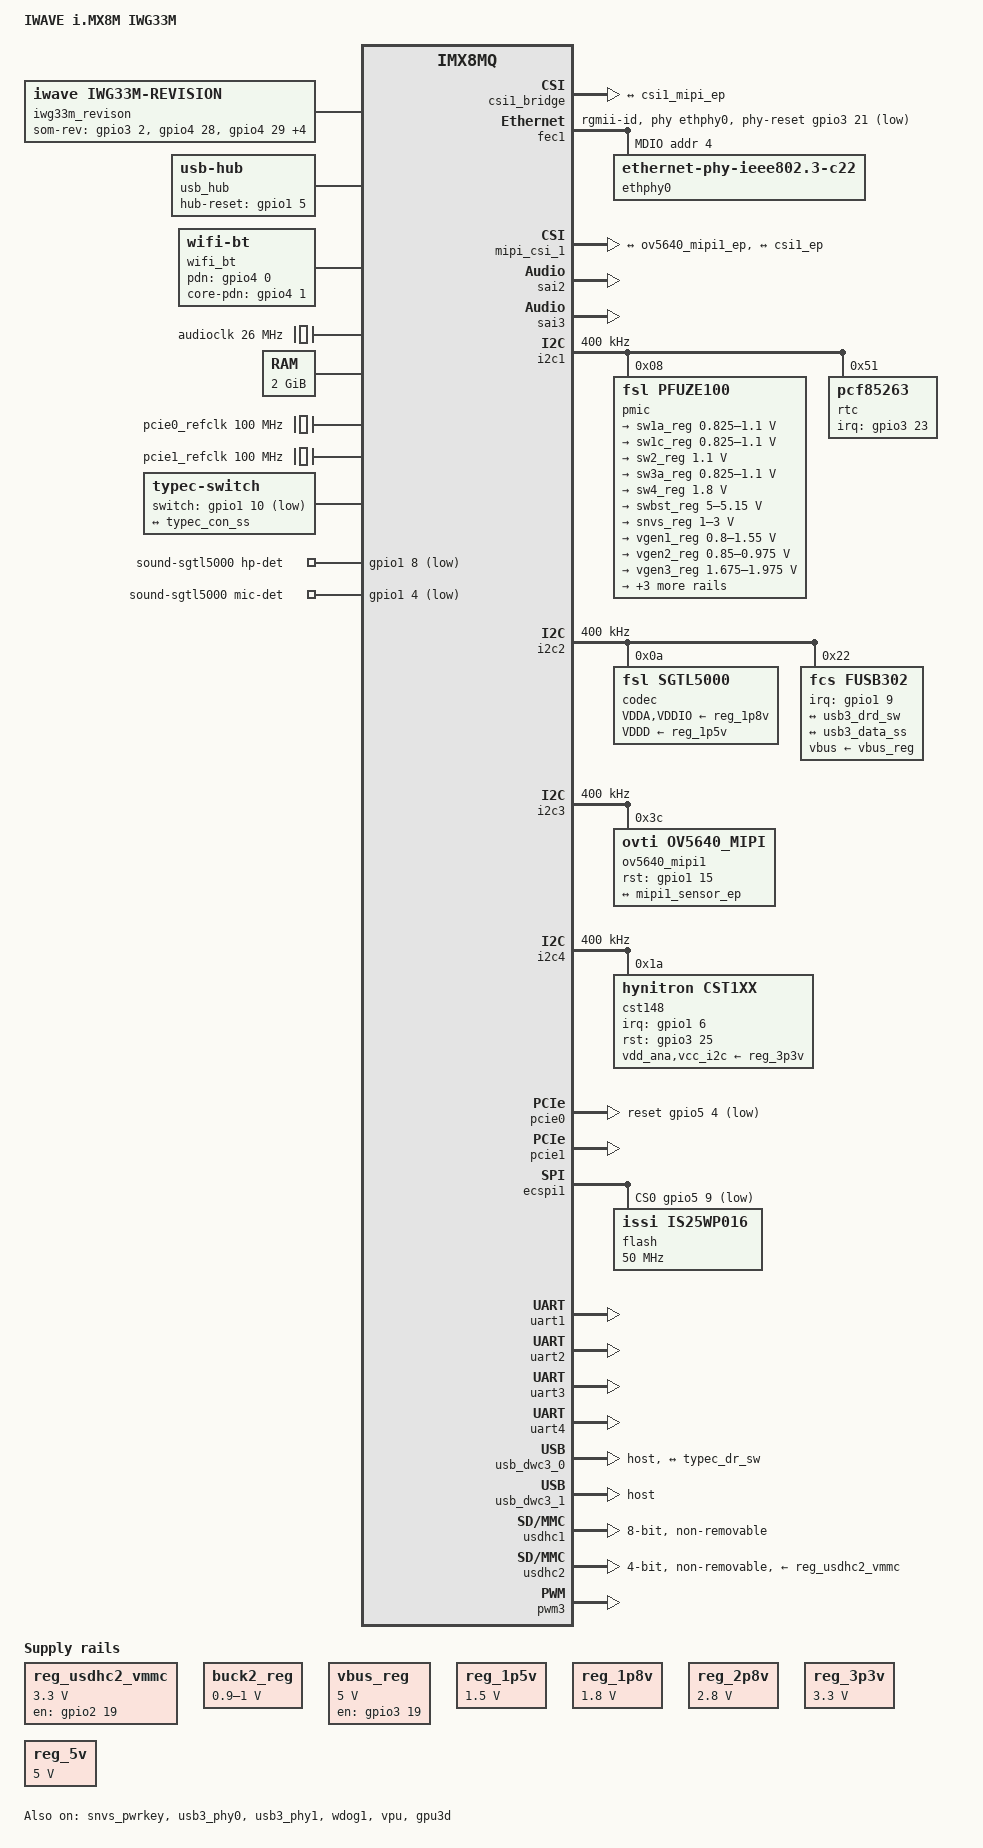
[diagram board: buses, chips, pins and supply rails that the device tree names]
// SPDX-License-Identifier: (GPL-2.0 OR MIT)
/*
 * Copyright 2020 iWave Systems Technologies
 */

/dts-v1/;

#include <dt-bindings/usb/pd.h>
#include "imx8mq.dtsi"

/ {
	model = "IWAVE i.MX8M IWG33M";
	compatible = "fsl,imx8mq-iwg33m", "fsl,imx8mq";
	
	aliases {
		ethernet1 = &pcie1;
	};

	chosen {
		stdout-path = &uart1;
	};

	/* IWG33M: DT node for SOM Revision */
	iwg33m_revison {
		compatible = "iwave,iwg33m-revision";
		pinctrl-names = "default";
		pinctrl-0 = <&pinctrl_board_cfg>;
		som-rev-gpios = <&gpio3 2 0  &gpio4 28 0  &gpio4 29 0  &gpio5 2 0
				&gpio4 22 0 &gpio4 21 0 &gpio3 14 0>;
		status = "okay";
	};

	usb_hub {
		compatible = "usb-hub";
		pinctrl-0 = <&pinctrl_usb_hub>;
		hub-reset-gpio = <&gpio1 5 GPIO_ACTIVE_HIGH>;
		status = "okay";
	};

	wifi_bt {
		compatible = "wifi-bt";
		pinctrl-0 = <&pinctrl_wifi_bt>;
		pdn-gpio = <&gpio4 0 GPIO_ACTIVE_HIGH>;
		core-pdn-gpio = <&gpio4 1 GPIO_ACTIVE_HIGH>;
		status = "okay";
	};

	audioclk: ext26MHz {
		compatible = "fixed-clock";
		#clock-cells = <0>;
		clock-frequency = <26000000>;
		clock-output-names = "ext26MHz";
	};

	memory@40000000 {
		device_type = "memory";
		reg = <0x00000000 0x40000000 0 0x80000000>;
	};

	reserved-memory {
		#address-cells = <2>;
		#size-cells = <2>;
		ranges;

		rpmsg_reserved: rpmsg@0xb8000000 {
			no-map;
			reg = <0 0xb8000000 0 0x400000>;
		};
	};

	resmem: reserved-memory {
		#address-cells = <2>;
		#size-cells = <2>;
		ranges;

		/* global autoconfigured region for contiguous allocations */
		linux,cma {
			compatible = "shared-dma-pool";
			reusable;
			size = <0 0x3c000000>;
			alloc-ranges = <0 0x40000000 0 0x40000000>;
			linux,cma-default;
		};
	};

	pcie0_refclk: pcie0-refclk {
		compatible = "fixed-clock";
		#clock-cells = <0>;
		clock-frequency = <100000000>;
	};

	pcie1_refclk: pcie0-refclk {
		compatible = "fixed-clock";
		#clock-cells = <0>;
		clock-frequency = <100000000>;
	};

	typec-switch {
		compatible = "typec-switch";
		pinctrl-names = "default";
		pinctrl-0 = <&pinctrl_ss_sel>;
		switch-gpios = <&gpio1 10 GPIO_ACTIVE_LOW>;
		orientation-switch;

		port {
			usb3_data_ss: endpoint {
				remote-endpoint = <&typec_con_ss>;
			};
		};
	};

	reg_usdhc2_vmmc: regulator-vsd-3v3 {
		pinctrl-names = "default";
		pinctrl-0 = <&pinctrl_reg_usdhc2>;
		compatible = "regulator-fixed";
		regulator-name = "VSD_3V3";
		regulator-min-microvolt = <3300000>;
		regulator-max-microvolt = <3300000>;
		gpio = <&gpio2 19 GPIO_ACTIVE_HIGH>;
		off-on-delay-us = <20000>;
		enable-active-high;
	};

	buck2_reg: regulator-buck2 {
		pinctrl-names = "default";
		pinctrl-0 = <&pinctrl_buck2>;
		compatible = "regulator-gpio";
		regulator-name = "vdd_arm";
		regulator-min-microvolt = <900000>;
		regulator-max-microvolt = <1000000>;
		gpios = <&gpio1 13 GPIO_ACTIVE_HIGH>;
		states = <1000000 0x0
			  900000 0x1>;
	};

	vbus_reg: regulator-vbus {
		pinctrl-names = "default";
		pinctrl-0 = <&pinctrl_vbus>;
		compatible = "regulator-fixed";
		regulator-name = "vbus_5V";
		regulator-min-microvolt = <5000000>;
		regulator-max-microvolt = <5000000>;
		gpio = <&gpio3 19 GPIO_ACTIVE_HIGH>;
		off-on-delay-us = <20000>;
		enable-active-high;
	};

	reg_1p5v: 1p5v {
		compatible = "regulator-fixed";
		regulator-name = "1P5V";
		regulator-min-microvolt = <1500000>;
		regulator-max-microvolt = <1500000>;
		regulator-always-on;
	};

	reg_1p8v: 1p8v {
		compatible = "regulator-fixed";
		regulator-name = "1P8V";
		regulator-min-microvolt = <1800000>;
		regulator-max-microvolt = <1800000>;
		regulator-always-on;
	};

	reg_2p8v: 2p8v {
		compatible = "regulator-fixed";
		regulator-name = "2P8V";
		regulator-min-microvolt = <2800000>;
		regulator-max-microvolt = <2800000>;
		regulator-always-on;
	};

	reg_3p3v: 3p3v {
		compatible = "regulator-fixed";
		regulator-name = "3P3V";
		regulator-min-microvolt = <3300000>;
		regulator-max-microvolt = <3300000>;
		regulator-always-on;
	};

	reg_5v: 5v {
		compatible = "regulator-fixed";
		regulator-name = "5V";
		regulator-min-microvolt = <5000000>;
		regulator-max-microvolt = <5000000>;
		regulator-always-on;
	};
	
	sound-sgtl5000 {
		compatible = "simple-audio-card";
		pinctrl-names = "default";
		pinctrl-0 = <&pinctrl_hp_mic_detect>;
		simple-audio-card,name = "sgtl5000-audio";
		simple-audio-card,format = "i2s";
		simple-audio-card,hp-det-gpio = <&gpio1 8 GPIO_ACTIVE_LOW>;
		simple-audio-card,mic-det-gpio = <&gpio1 4 GPIO_ACTIVE_LOW>;
		simple-audio-card,widgets =
			"Microphone", "Mic Jack",
			"Headphone", "Headphones",
			"Speaker", "Speaker Ext",
			"Line", "Line In Jack";
		simple-audio-card,routing =
			"MIC_IN", "Mic Jack",
			"Mic Jack", "Mic Bias",
			"LINE_IN", "Line In Jack",
			"Headphones", "HP_OUT",
			"Speaker Ext", "LINE_OUT";	

		simple-audio-card,cpu {
			sound-dai = <&sai2>;
			frame-master;
			bitclock-master;
		};

		simple-audio-card,codec {
			sound-dai = <&codec>;
			frame-master;
			bitclock-master;
			system-clock-frequency = <26000000>;
		};
	};

	sound-hdmi {
		compatible = "fsl,imx8mq-evk-cdnhdmi",
				"fsl,imx-audio-cdnhdmi";
		model = "imx-audio-hdmi";
		audio-cpu = <&sai4>;
		protocol = <1>;
		hdmi-out;
		constraint-rate = <44100>,
				<88200>,
				<176400>,
				<32000>,
				<48000>,
				<96000>,
				<192000>;
		status = "disabled";
	};

};

&iomuxc {
	pinctrl-names = "default";
	pinctrl-0 = <&pinctrl_hog>;

	pinctrl_hog: hoggrp {
		fsl,pins = <
			MX8MQ_IOMUXC_SD2_WP_GPIO2_IO20			0x19
			MX8MQ_IOMUXC_NAND_ALE_GPIO3_IO0			0x19
			MX8MQ_IOMUXC_NAND_CE0_B_GPIO3_IO1		0x19
			MX8MQ_IOMUXC_NAND_DATA00_GPIO3_IO6		0x19
			MX8MQ_IOMUXC_NAND_DATA01_GPIO3_IO7		0x19
			MX8MQ_IOMUXC_NAND_DATA02_GPIO3_IO8		0x41
			MX8MQ_IOMUXC_NAND_DATA03_GPIO3_IO9		0x19            
			MX8MQ_IOMUXC_NAND_READY_B_GPIO3_IO16		0x19
			MX8MQ_IOMUXC_NAND_WE_B_GPIO3_IO17		0x19
			MX8MQ_IOMUXC_NAND_WP_B_GPIO3_IO18		0x19
			MX8MQ_IOMUXC_GPIO1_IO00_GPIO1_IO0		0x19
			MX8MQ_IOMUXC_GPIO1_IO01_GPIO1_IO1		0x19
			MX8MQ_IOMUXC_GPIO1_IO11_GPIO1_IO11		0x19
			MX8MQ_IOMUXC_GPIO1_IO12_GPIO1_IO12		0x19
			MX8MQ_IOMUXC_SAI5_RXD3_GPIO3_IO24		0x19
			MX8MQ_IOMUXC_SAI1_TXFS_GPIO4_IO10		0x19
			MX8MQ_IOMUXC_SAI1_TXC_GPIO4_IO11		0x19
		>;
	};

	pinctrl_buck2: vddarmgrp {
		fsl,pins = <
			MX8MQ_IOMUXC_GPIO1_IO13_GPIO1_IO13		0x19
		>;

	};

	pinctrl_board_cfg: brd_cfg {
		fsl,pins = <
			MX8MQ_IOMUXC_NAND_CE1_B_GPIO3_IO2		0xc1
			MX8MQ_IOMUXC_SAI3_RXFS_GPIO4_IO28		0xc1
			MX8MQ_IOMUXC_SAI3_RXC_GPIO4_IO29		0xc1
			MX8MQ_IOMUXC_SAI3_MCLK_GPIO5_IO2		0xc1
			MX8MQ_IOMUXC_SAI2_RXC_GPIO4_IO22		0xc1
			MX8MQ_IOMUXC_SAI2_RXFS_GPIO4_IO21		0xc1
			MX8MQ_IOMUXC_NAND_DQS_GPIO3_IO14		0xc1
		>;
	};

	pinctrl_mipi_dsi_en: mipi_dsi_en {
		fsl,pins = <
			MX8MQ_IOMUXC_GPIO1_IO03_GPIO1_IO3		0x16
		>;
	};

	pinctrl_csi1_pwn: csi1_pwn_grp {
		fsl,pins = <
			MX8MQ_IOMUXC_GPIO1_IO15_GPIO1_IO15		0x19
			MX8MQ_IOMUXC_SAI1_MCLK_SAI1_MCLK		0x59
		>;
	};
	
	pinctrl_pcf85263: pcf85263_grp {
		fsl,pins = <
			MX8MQ_IOMUXC_SAI5_RXD2_GPIO3_IO23		0x19
		>;
	};

	pinctrl_fec1: fec1grp {
		fsl,pins = <
			MX8MQ_IOMUXC_ENET_MDC_ENET1_MDC			0x3
			MX8MQ_IOMUXC_ENET_MDIO_ENET1_MDIO		0x23
			MX8MQ_IOMUXC_ENET_TD3_ENET1_RGMII_TD3		0x1f
			MX8MQ_IOMUXC_ENET_TD2_ENET1_RGMII_TD2		0x1f
			MX8MQ_IOMUXC_ENET_TD1_ENET1_RGMII_TD1		0x1f
			MX8MQ_IOMUXC_ENET_TD0_ENET1_RGMII_TD0		0x1f
			MX8MQ_IOMUXC_ENET_RD3_ENET1_RGMII_RD3		0x91
			MX8MQ_IOMUXC_ENET_RD2_ENET1_RGMII_RD2		0x91
			MX8MQ_IOMUXC_ENET_RD1_ENET1_RGMII_RD1		0x91
			MX8MQ_IOMUXC_ENET_RD0_ENET1_RGMII_RD0		0x91
			MX8MQ_IOMUXC_ENET_TXC_ENET1_RGMII_TXC		0x1f
			MX8MQ_IOMUXC_ENET_RXC_ENET1_RGMII_RXC		0x91
			MX8MQ_IOMUXC_ENET_RX_CTL_ENET1_RGMII_RX_CTL	0x91
			MX8MQ_IOMUXC_ENET_TX_CTL_ENET1_RGMII_TX_CTL	0x1f
			MX8MQ_IOMUXC_SAI5_RXD0_GPIO3_IO21		0x19
			MX8MQ_IOMUXC_SAI5_RXD1_GPIO3_IO22		0x19
			MX8MQ_IOMUXC_SAI5_RXC_GPIO3_IO20		0x19
		>;
	};

	pinctrl_i2c1: i2c1grp {
		fsl,pins = <
			MX8MQ_IOMUXC_I2C1_SCL_I2C1_SCL			0x4000007f
			MX8MQ_IOMUXC_I2C1_SDA_I2C1_SDA			0x4000007f
		>;
	};

	pinctrl_i2c3: i2c3grp {
		fsl,pins = <
			MX8MQ_IOMUXC_I2C3_SCL_I2C3_SCL			0x4000007f
			MX8MQ_IOMUXC_I2C3_SDA_I2C3_SDA			0x4000007f
		>;
	};

	pinctrl_i2c2: i2c2grp {
		fsl,pins = <
			MX8MQ_IOMUXC_I2C2_SCL_I2C2_SCL			0x40000067
			MX8MQ_IOMUXC_I2C2_SDA_I2C2_SDA			0x40000067
		>;
	};

	pinctrl_i2c4: i2c4grp {
		fsl,pins = <
			MX8MQ_IOMUXC_I2C4_SCL_I2C4_SCL			0x4000007f
			MX8MQ_IOMUXC_I2C4_SDA_I2C4_SDA			0x4000007f
		>;
	};

	pinctrl_pcie0: pcie0grp {
		fsl,pins = <
			MX8MQ_IOMUXC_SPDIF_RX_GPIO5_IO4			0x16
			MX8MQ_IOMUXC_SPDIF_EXT_CLK_GPIO5_IO5		0x16
			MX8MQ_IOMUXC_GPIO1_IO07_GPIO1_IO7		0x16
		>;
	};

	pinctrl_qspi: qspigrp {
		fsl,pins = <
			MX8MQ_IOMUXC_NAND_ALE_QSPI_A_SCLK	0x82
			MX8MQ_IOMUXC_NAND_CE0_B_QSPI_A_SS0_B	0x82
			MX8MQ_IOMUXC_NAND_DATA00_QSPI_A_DATA0	0x82
			MX8MQ_IOMUXC_NAND_DATA01_QSPI_A_DATA1	0x82
			MX8MQ_IOMUXC_NAND_DATA02_QSPI_A_DATA2	0x82
			MX8MQ_IOMUXC_NAND_DATA03_QSPI_A_DATA3	0x82

		>;
	};

	pinctrl_ecspi1: ecspi1grp {
		fsl,pins = <
			MX8MQ_IOMUXC_ECSPI1_SCLK_ECSPI1_SCLK		0x82
			MX8MQ_IOMUXC_ECSPI1_MOSI_ECSPI1_MOSI		0x82
			MX8MQ_IOMUXC_ECSPI1_MISO_ECSPI1_MISO		0x82
			MX8MQ_IOMUXC_ECSPI1_SS0_GPIO5_IO9		0x82
		>;
	};

	pinctrl_reg_usdhc2: regusdhc2grpgpio {
		fsl,pins = <
			MX8MQ_IOMUXC_SD2_RESET_B_GPIO2_IO19		0x41
		>;
	};

	pinctrl_sai2: sai2grp {
		fsl,pins = <
			MX8MQ_IOMUXC_SAI2_TXFS_SAI2_TX_SYNC		0xd6
			MX8MQ_IOMUXC_SAI2_TXC_SAI2_TX_BCLK		0xd6
			MX8MQ_IOMUXC_SAI2_MCLK_SAI2_MCLK		0xd6
			MX8MQ_IOMUXC_SAI2_TXD0_SAI2_TX_DATA0		0xd6
			MX8MQ_IOMUXC_SAI2_RXD0_SAI2_RX_DATA0		0xd6
		>;
	};

	pinctrl_sai3: sai3grp {
		fsl,pins = <
			MX8MQ_IOMUXC_SAI3_TXD_SAI3_TX_DATA0		0xd6
			MX8MQ_IOMUXC_SAI3_RXD_SAI3_RX_DATA0		0xd6
			MX8MQ_IOMUXC_SAI3_TXC_SAI3_TX_BCLK		0xd6
			MX8MQ_IOMUXC_SAI3_TXFS_SAI3_TX_SYNC		0xd6
		>;
	};

	pinctrl_hp_mic_detect: hp_mic_detect {
		fsl,pins = <
			MX8MQ_IOMUXC_GPIO1_IO04_GPIO1_IO4		0x19
			MX8MQ_IOMUXC_GPIO1_IO08_GPIO1_IO8		0x19
		>;
	};

	pinctrl_ts_active_iwg33m: touch {
		fsl,pins = <
			MX8MQ_IOMUXC_GPIO1_IO06_GPIO1_IO6		0x19
			MX8MQ_IOMUXC_SAI5_MCLK_GPIO3_IO25		0x19
		>;
	};

	pinctrl_ss_sel: usb3ssgrp{
		fsl,pins = <
			MX8MQ_IOMUXC_GPIO1_IO10_GPIO1_IO10 		0x19
		>;
	};
	
	pinctrl_vbus: usb_vbus {
		fsl,pins = <
			MX8MQ_IOMUXC_SAI5_RXFS_GPIO3_IO19		0x19
		>;
	};

	pinctrl_typec: typecgrp {
		fsl,pins = <
			MX8MQ_IOMUXC_GPIO1_IO09_GPIO1_IO9		0x19
		>;
	
	};

	pinctrl_usb_hub: usb_hub {
		fsl,pins = <
			MX8MQ_IOMUXC_GPIO1_IO05_GPIO1_IO5		0x19
		>;
	};

	pinctrl_wifi_bt: wifi_bt {
		fsl,pins = <
			MX8MQ_IOMUXC_SAI1_RXFS_GPIO4_IO0		0x19
			MX8MQ_IOMUXC_SAI1_RXC_GPIO4_IO1			0x19
		>;
	};

	pinctrl_uart1: uart1grp {
		fsl,pins = <
			MX8MQ_IOMUXC_UART1_RXD_UART1_DCE_RX		0x49
			MX8MQ_IOMUXC_UART1_TXD_UART1_DCE_TX		0x49
		>;
	};

	pinctrl_uart2: uart2grp {
		fsl,pins = <
			MX8MQ_IOMUXC_UART2_RXD_UART2_DCE_RX		0x49
			MX8MQ_IOMUXC_UART2_TXD_UART2_DCE_TX		0x49
			MX8MQ_IOMUXC_UART4_RXD_UART2_DCE_CTS_B		0x49
			MX8MQ_IOMUXC_UART4_TXD_UART2_DCE_RTS_B		0x49
		>;
	};

	pinctrl_uart3: uart3grp {
		fsl,pins = <
			MX8MQ_IOMUXC_UART3_TXD_UART3_DCE_TX		0x49
			MX8MQ_IOMUXC_UART3_RXD_UART3_DCE_RX		0x49
		>;
	};

	pinctrl_bt_uart4: bt_uart4grp {
		fsl,pins = <
			MX8MQ_IOMUXC_ECSPI2_MOSI_UART4_DCE_TX		0x49
			MX8MQ_IOMUXC_ECSPI2_SCLK_UART4_DCE_RX		0x49
			MX8MQ_IOMUXC_ECSPI2_MISO_UART4_DCE_CTS_B	0x49
			MX8MQ_IOMUXC_ECSPI2_SS0_UART4_DCE_RTS_B		0x49
			
		>;
	};

	pinctrl_usdhc1: usdhc1grp {
		fsl,pins = <
			MX8MQ_IOMUXC_SD1_CLK_USDHC1_CLK			0x83
			MX8MQ_IOMUXC_SD1_CMD_USDHC1_CMD			0xc3
			MX8MQ_IOMUXC_SD1_DATA0_USDHC1_DATA0		0xc3
			MX8MQ_IOMUXC_SD1_DATA1_USDHC1_DATA1		0xc3
			MX8MQ_IOMUXC_SD1_DATA2_USDHC1_DATA2		0xc3
			MX8MQ_IOMUXC_SD1_DATA3_USDHC1_DATA3		0xc3
			MX8MQ_IOMUXC_SD1_DATA4_USDHC1_DATA4		0xc3
			MX8MQ_IOMUXC_SD1_DATA5_USDHC1_DATA5		0xc3
			MX8MQ_IOMUXC_SD1_DATA6_USDHC1_DATA6		0xc3
			MX8MQ_IOMUXC_SD1_DATA7_USDHC1_DATA7		0xc3
			MX8MQ_IOMUXC_SD1_STROBE_USDHC1_STROBE		0x83
			MX8MQ_IOMUXC_SD1_RESET_B_USDHC1_RESET_B		0xc1
		>;
	};

	pinctrl_usdhc1_100mhz: usdhc1-100grp {
		fsl,pins = <
			MX8MQ_IOMUXC_SD1_CLK_USDHC1_CLK			0x8d
			MX8MQ_IOMUXC_SD1_CMD_USDHC1_CMD			0xcd
			MX8MQ_IOMUXC_SD1_DATA0_USDHC1_DATA0		0xcd
			MX8MQ_IOMUXC_SD1_DATA1_USDHC1_DATA1		0xcd
			MX8MQ_IOMUXC_SD1_DATA2_USDHC1_DATA2		0xcd
			MX8MQ_IOMUXC_SD1_DATA3_USDHC1_DATA3		0xcd
			MX8MQ_IOMUXC_SD1_DATA4_USDHC1_DATA4		0xcd
			MX8MQ_IOMUXC_SD1_DATA5_USDHC1_DATA5		0xcd
			MX8MQ_IOMUXC_SD1_DATA6_USDHC1_DATA6		0xcd
			MX8MQ_IOMUXC_SD1_DATA7_USDHC1_DATA7		0xcd
			MX8MQ_IOMUXC_SD1_STROBE_USDHC1_STROBE		0x8d
			MX8MQ_IOMUXC_SD1_RESET_B_USDHC1_RESET_B		0xc1
		>;
	};

	pinctrl_usdhc1_200mhz: usdhc1-200grp {
		fsl,pins = <
			MX8MQ_IOMUXC_SD1_CLK_USDHC1_CLK			0x9f
			MX8MQ_IOMUXC_SD1_CMD_USDHC1_CMD			0xdf
			MX8MQ_IOMUXC_SD1_DATA0_USDHC1_DATA0		0xdf
			MX8MQ_IOMUXC_SD1_DATA1_USDHC1_DATA1		0xdf
			MX8MQ_IOMUXC_SD1_DATA2_USDHC1_DATA2		0xdf
			MX8MQ_IOMUXC_SD1_DATA3_USDHC1_DATA3		0xdf
			MX8MQ_IOMUXC_SD1_DATA4_USDHC1_DATA4		0xdf
			MX8MQ_IOMUXC_SD1_DATA5_USDHC1_DATA5		0xdf
			MX8MQ_IOMUXC_SD1_DATA6_USDHC1_DATA6		0xdf
			MX8MQ_IOMUXC_SD1_DATA7_USDHC1_DATA7		0xdf
			MX8MQ_IOMUXC_SD1_STROBE_USDHC1_STROBE		0x9f
			MX8MQ_IOMUXC_SD1_RESET_B_USDHC1_RESET_B		0xc1
		>;
	};

	pinctrl_usdhc2: usdhc2grp {
		fsl,pins = <
			MX8MQ_IOMUXC_SD2_CLK_USDHC2_CLK			0x83
			MX8MQ_IOMUXC_SD2_CMD_USDHC2_CMD			0xc3
			MX8MQ_IOMUXC_SD2_DATA0_USDHC2_DATA0		0xc3
			MX8MQ_IOMUXC_SD2_DATA1_USDHC2_DATA1		0xc3
			MX8MQ_IOMUXC_SD2_DATA2_USDHC2_DATA2		0xc3
			MX8MQ_IOMUXC_SD2_DATA3_USDHC2_DATA3		0xc3
			MX8MQ_IOMUXC_SD2_CD_B_GPIO2_IO12		0x41
			MX8MQ_IOMUXC_SAI1_RXD0_GPIO4_IO2		0xc1
		>;
	};

	pinctrl_usdhc2_100mhz: usdhc2-100grp {
		fsl,pins = <
			MX8MQ_IOMUXC_SD2_CLK_USDHC2_CLK			0x85
			MX8MQ_IOMUXC_SD2_CMD_USDHC2_CMD			0xc5
			MX8MQ_IOMUXC_SD2_DATA0_USDHC2_DATA0		0xc5
			MX8MQ_IOMUXC_SD2_DATA1_USDHC2_DATA1		0xc5
			MX8MQ_IOMUXC_SD2_DATA2_USDHC2_DATA2		0xc5
			MX8MQ_IOMUXC_SD2_DATA3_USDHC2_DATA3		0xc5
			MX8MQ_IOMUXC_SD2_CD_B_GPIO2_IO12		0x41
			MX8MQ_IOMUXC_SAI1_RXD0_GPIO4_IO2		0xc1
		>;
	};

	pinctrl_usdhc2_200mhz: usdhc2-200grp {
		fsl,pins = <
			MX8MQ_IOMUXC_SD2_CLK_USDHC2_CLK			0x87
			MX8MQ_IOMUXC_SD2_CMD_USDHC2_CMD			0xc7
			MX8MQ_IOMUXC_SD2_DATA0_USDHC2_DATA0		0xc7
			MX8MQ_IOMUXC_SD2_DATA1_USDHC2_DATA1		0xc7
			MX8MQ_IOMUXC_SD2_DATA2_USDHC2_DATA2		0xc7
			MX8MQ_IOMUXC_SD2_DATA3_USDHC2_DATA3		0xc7
			MX8MQ_IOMUXC_SD2_CD_B_GPIO2_IO12		0x41
			MX8MQ_IOMUXC_SAI1_RXD0_GPIO4_IO2		0xc1
		>;
	};

	pinctrl_wdog: wdog1grp {
		fsl,pins = <
			MX8MQ_IOMUXC_GPIO1_IO02_WDOG1_WDOG_B		0xc6
		>;
	};

	pinctrl_pwm3: pwm3grp {
		fsl,pins = <
			MX8MQ_IOMUXC_GPIO1_IO14_PWM3_OUT		0x6	
		>;
	};
};



&A53_0 {
	cpu-supply = <&buck2_reg>;
};

&A53_1 {
	cpu-supply = <&buck2_reg>;
};

&A53_2 {
	cpu-supply = <&buck2_reg>;
};

&A53_3 {
	cpu-supply = <&buck2_reg>;
};

&csi1_bridge {
	fsl,mipi-mode;
	fsl,two-8bit-sensor-mode;
	status = "okay";

	port {
		csi1_ep: endpoint {
			remote-endpoint = <&csi1_mipi_ep>;
		};
	};
};

&fec1 {
	pinctrl-names = "default";
	pinctrl-0 = <&pinctrl_fec1>;
	phy-mode = "rgmii-id";
	phy-handle = <&ethphy0>;
	phy-reset-gpios = <&gpio3 21 GPIO_ACTIVE_LOW>;
	fsl,magic-packet;
	fsl,rgmii_txc_dly;
	fsl,rgmii_rxc_dly;
	fsl,ar8031-phy-fixup;
	status = "okay";

	mdio {
		#address-cells = <1>;
		#size-cells = <0>;

		ethphy0: ethernet-phy@4 {
			compatible = "ethernet-phy-ieee802.3-c22";
			reg = <4>;
			at803x,eee-disabled;
			at803x,vddio-1p8v;
		};
	};
};

&mipi_csi_1 {
	#address-cells = <1>;
	#size-cells = <0>;
	status = "okay";
	port {
		mipi1_sensor_ep: endpoint@0 {
			remote-endpoint = <&ov5640_mipi1_ep>;
			data-lanes = <1 2>;
			bus-type = <4>;
		};

		csi1_mipi_ep: endpoint@1 {
			remote-endpoint = <&csi1_ep>;
		};
	};
};

&sai2 {
	pinctrl-names = "default";
	pinctrl-0 = <&pinctrl_sai2>;
	assigned-clocks = <&clk IMX8MQ_CLK_SAI2>;
	assigned-clock-parents = <&clk IMX8MQ_AUDIO_PLL1_OUT>;
	assigned-clock-rates = <24576000>;
	status = "okay";
};

&sai3 {
	pinctrl-names = "default";
	pinctrl-0 = <&pinctrl_sai3>;
	assigned-clocks = <&clk IMX8MQ_CLK_SAI3>;
	assigned-clock-parents = <&clk IMX8MQ_AUDIO_PLL1_OUT>;
	assigned-clock-rates = <24576000>;
	status = "okay";
};

&i2c1 {
	clock-frequency = <400000>;
	pinctrl-names = "default";
	pinctrl-0 = <&pinctrl_i2c1>;
	status = "okay";

	pmic@8 {
		compatible = "fsl,pfuze100";
		fsl,pfuze-support-disable-sw;
		reg = <0x8>;

		regulators {
			sw1a_reg: sw1ab {
				regulator-min-microvolt = <825000>;
				regulator-max-microvolt = <1100000>;
			};

			sw1c_reg: sw1c {
				regulator-min-microvolt = <825000>;
				regulator-max-microvolt = <1100000>;
			};

			sw2_reg: sw2 {
				regulator-min-microvolt = <1100000>;
				regulator-max-microvolt = <1100000>;
				regulator-always-on;
			};

			sw3a_reg: sw3ab {
				regulator-min-microvolt = <825000>;
				regulator-max-microvolt = <1100000>;
				regulator-always-on;
			};

			sw4_reg: sw4 {
				regulator-min-microvolt = <1800000>;
				regulator-max-microvolt = <1800000>;
				regulator-always-on;
			};

			swbst_reg: swbst {
				regulator-min-microvolt = <5000000>;
				regulator-max-microvolt = <5150000>;
			};

			snvs_reg: vsnvs {
				regulator-min-microvolt = <1000000>;
				regulator-max-microvolt = <3000000>;
				regulator-always-on;
			};

			vref_reg: vrefddr {
				regulator-always-on;
			};

			vgen1_reg: vgen1 {
				regulator-min-microvolt = <800000>;
				regulator-max-microvolt = <1550000>;
			};

			vgen2_reg: vgen2 {
				regulator-min-microvolt = <850000>;
				regulator-max-microvolt = <975000>;
				regulator-always-on;
			};

			vgen3_reg: vgen3 {
				regulator-min-microvolt = <1675000>;
				regulator-max-microvolt = <1975000>;
				regulator-always-on;
			};

			vgen4_reg: vgen4 {
				regulator-min-microvolt = <1625000>;
				regulator-max-microvolt = <1875000>;
				regulator-always-on;
			};

			vgen5_reg: vgen5 {
				regulator-min-microvolt = <3075000>;
				regulator-max-microvolt = <3625000>;
				regulator-always-on;
			};

			vgen6_reg: vgen6 {
				regulator-min-microvolt = <1800000>;
				regulator-max-microvolt = <3300000>;
			};
		};
	};
	
	rtc@51 {
		compatible = "pcf85263";
		reg = <0x51>;
		pinctrl-names = "default";
		pinctrl-0 = <&pinctrl_pcf85263>;
		interrupt-parent = <&gpio3>;
		interrupts = <23 IRQ_TYPE_LEVEL_LOW>;
		interrupt-names = "INTA";
		wakeup-source;
		status = "okay";
	};

};

&i2c2 {
	clock-frequency = <400000>;
	pinctrl-names = "default";
	pinctrl-0 = <&pinctrl_i2c2>;
	status = "okay";

	codec: sgtl5000@a {
		compatible = "fsl,sgtl5000";
		reg = <0xa>;
		#sound-dai-cells = <0>;
		clocks = <&audioclk>;
		VDDA-supply = <&reg_1p8v>;
		VDDIO-supply = <&reg_1p8v>;
		VDDD-supply = <&reg_1p5v>;
		status = "okay";
	};

	fusb302: typec-port@22 {
		compatible = "fcs,fusb302";
		reg = <0x22>;
		pinctrl-names = "default"; 
		pinctrl-0 = <&pinctrl_typec>;
		interrupt-parent = <&gpio1>;
		interrupts = <9 IRQ_TYPE_LEVEL_LOW>;
		vbus-supply = <&vbus_reg>;

		port {
			typec_dr_sw: endpoint {
				remote-endpoint = <&usb3_drd_sw>;
			};
		};

		usb_con: connector {
			compatible = "usb-c-connector";
			label = "USB-C";
			power-role = "dual";
			try-power-role = "sink";
			source-pdos = <PDO_FIXED(5000, 400, PDO_FIXED_DUAL_ROLE | PDO_FIXED_DATA_SWAP | PDO_FIXED_USB_COMM)>;
			sink-pdos = <PDO_FIXED(5000, 400, PDO_FIXED_DUAL_ROLE | PDO_FIXED_DATA_SWAP | PDO_FIXED_USB_COMM)>;
			op-sink-microwatt = <2500000>;

			data-role = "dual";

			ports {
				#address-cells = <1>;
				#size-cells = <0>;

				port@1 {
					reg = <1>;
					typec_con_ss: endpoint {
						remote-endpoint = <&usb3_data_ss>;
					};
				};
			};

		};
	};
};

&i2c3 {
	clock-frequency = <400000>;
	pinctrl-names = "default";
	pinctrl-0 = <&pinctrl_i2c3>;
	status = "okay";

	ov5640_mipi1: ov5640_mipi2@3c {
		compatible = "ovti,ov5640_mipi";
		reg = <0x3c>;
		status = "okay";
		pinctrl-names = "default";
		pinctrl-0 = <&pinctrl_csi1_pwn>;
		clocks = <&clk IMX8MQ_CLK_SAI1>;
		clock-names = "csi_mclk";
		assigned-clocks = <&clk IMX8MQ_CLK_SAI1>;
		assigned-clock-parents = <&clk IMX8MQ_SYS1_PLL_133M>;
		assigned-clock-rates = <24000000>;
		csi_id = <0>;
		rst-gpios = <&gpio1 15 GPIO_ACTIVE_HIGH>;
		mclk = <24000000>;
		mclk_source = <0>;
		port {
			ov5640_mipi1_ep: endpoint {
				remote-endpoint = <&mipi1_sensor_ep>;
			};
		};
	};
};

&i2c4 {
	clock-frequency = <400000>;
	pinctrl-names = "default";
	pinctrl-0 = <&pinctrl_i2c4>;
	status = "okay";

	cst148@1a {
		compatible = "hynitron,cst1xx";
		reg = <0x1a>;
		interrupt-parent = <&gpio1>;
		interrupts = <6 2>;
		vdd_ana-supply = <&reg_3p3v>;
		vcc_i2c-supply = <&reg_3p3v>;
		hynitron,panel-coords = <0 1080 0 1920>;
		hynitron,display-coords = <0 1080 0 1920>;
		pinctrl-names = "default";
		pinctrl-0 = <&pinctrl_ts_active_iwg33m>;
		hynitron,irq-gpio = <&gpio1 6 0>;
		hynitron,rst-gpio = <&gpio3 25 0>;
		report_type = <1>;
		status = "okay";
	};
};

&pcie0 {
	pinctrl-names = "default";
	pinctrl-0 = <&pinctrl_pcie0>;
	reset-gpio = <&gpio5 4 GPIO_ACTIVE_LOW>;
	disable-gpio = <&gpio1 7 GPIO_ACTIVE_LOW>;
	clocks = <&clk IMX8MQ_CLK_PCIE1_ROOT>,
		 <&clk IMX8MQ_CLK_PCIE1_AUX>,
		 <&clk IMX8MQ_CLK_PCIE1_PHY>,
		 <&pcie0_refclk>;
	clock-names = "pcie", "pcie_aux", "pcie_phy", "pcie_bus";
	reserved-region = <&rpmsg_reserved>;
	status = "okay";
};

&pcie1 {
	pinctrl-names = "default";
	clocks = <&clk IMX8MQ_CLK_PCIE2_ROOT>,
		 <&clk IMX8MQ_CLK_PCIE2_AUX>,
		 <&clk IMX8MQ_CLK_PCIE2_PHY>,
		 <&pcie1_refclk>;
	clock-names = "pcie", "pcie_aux", "pcie_phy", "pcie_bus";
	bus-range = <0x00 0xff>;
	hard-wired = <1>;
	status = "okay";
};

&pgc_gpu {
	power-supply = <&sw1a_reg>;
};

&pgc_vpu {
	power-supply = <&sw1c_reg>;
};

&snvs_pwrkey {
	status = "okay";
};

&qspi0 {
	pinctrl-names = "default";
	pinctrl-0 = <&pinctrl_qspi>;
	status = "disabled";

	flash0: n25q256a@0 {
		reg = <0>;
		#address-cells = <1>;
		#size-cells = <1>;
		compatible = "issi,is25wp016", "jedec,spi-nor";
		spi-max-frequency = <50000000>;
		spi-tx-bus-width = <4>;
		spi-rx-bus-width = <4>;
		spi-nor,ddr-quad-read-dummy = <6>;
	};
};

&ecspi1 {
	#address-cells = <1>;
	#size-cells = <0>;
	num-cs = <1>;
	pinctrl-names = "default";
	pinctrl-0 = <&pinctrl_ecspi1>;
	cs-gpios = <&gpio5 9 GPIO_ACTIVE_LOW>;
	assigned-clocks = <&clk IMX8MQ_CLK_ECSPI1>;
	assigned-clock-parents = <&clk IMX8MQ_CLK_25M>;
	status = "okay";

	flash: is25wp016@0 {
		reg = <0>;
		#address-cells = <1>;
		#size-cells = <1>;
		compatible = "issi,is25wp016", "jedec,spi-nor";
		spi-max-frequency = <50000000>;
	};
};

&uart1 { /* Console */
	pinctrl-names = "default";
	pinctrl-0 = <&pinctrl_uart1>;
	assigned-clocks = <&clk IMX8MQ_CLK_UART1>;
	assigned-clock-parents = <&clk IMX8MQ_CLK_25M>;
	status = "okay";
};

&uart2 { /* Data UART */
	pinctrl-names = "default";
	pinctrl-0 = <&pinctrl_uart2>;
	assigned-clocks = <&clk IMX8MQ_CLK_UART2>;
	assigned-clock-parents = <&clk IMX8MQ_CLK_25M>;
	fsl,uart-has-rtscts;
	status = "okay";
};

&uart3 { /* Data UART */
	pinctrl-names = "default";
	pinctrl-0 = <&pinctrl_uart3>;
	assigned-clocks = <&clk IMX8MQ_CLK_UART3>;
	assigned-clock-parents = <&clk IMX8MQ_SYS1_PLL_80M>;
	status = "okay";
};

&uart4 { /* BT */
	pinctrl-names = "default";
	pinctrl-0 = <&pinctrl_bt_uart4>;
	assigned-clocks = <&clk IMX8MQ_CLK_UART4>;
	assigned-clock-parents = <&clk IMX8MQ_SYS1_PLL_80M>;
	fsl,uart-has-rtscts;
	status = "okay";
};

&usb3_phy0 {
	vbus-supply = <&vbus_reg>;
	status = "okay";
};

&usb_dwc3_0 {
	dr_mode = "host";
	status = "okay";

	port {
		usb3_drd_sw: endpoint {
			remote-endpoint = <&typec_dr_sw>;
		};
	};
};

&usb3_phy1 {
	vbus-supply = <&reg_5v>;
	status = "okay";
};

&usb_dwc3_1 {
	dr_mode = "host";
	status = "okay";
};

&usdhc1 {
	pinctrl-names = "default", "state_100mhz", "state_200mhz";
	pinctrl-0 = <&pinctrl_usdhc1>;
	pinctrl-1 = <&pinctrl_usdhc1_100mhz>;
	pinctrl-2 = <&pinctrl_usdhc1_200mhz>;
	vqmmc-supply = <&sw4_reg>;
	bus-width = <8>;
	non-removable;
	no-sd;
	no-sdio;
	status = "okay";
};

&usdhc2 {
	pinctrl-names = "default", "state_100mhz", "state_200mhz";
	pinctrl-0 = <&pinctrl_usdhc2>;
	pinctrl-1 = <&pinctrl_usdhc2_100mhz>;
	pinctrl-2 = <&pinctrl_usdhc2_200mhz>;
	bus-width = <4>;
	non-removable;
	//cd-gpios = <&gpio2 12 GPIO_ACTIVE_LOW>;
	vmmc-supply = <&reg_usdhc2_vmmc>;
	keep-power-in-suspend;
	status = "okay";
};

&wdog1 {
	pinctrl-names = "default";
	pinctrl-0 = <&pinctrl_wdog>;
	fsl,ext-reset-output;
	status = "okay";
};

&pwm3 {
	pinctrl-names = "default";
	pinctrl-0 = <&pinctrl_pwm3>;
	status = "okay";
};

&vpu {
	regulator-supply = <&sw1c_reg>;
	status = "okay";
};

&gpu3d {
	reg = <0x0 0x38000000 0x0 0x40000>, <0x0 0x40000000 0x0 0x80000000>, <0x0 0x0 0x0 0x10000000>;
	reg-names = "iobase_3d", "phys_baseaddr", "contiguous_mem";
	status = "okay";
};
